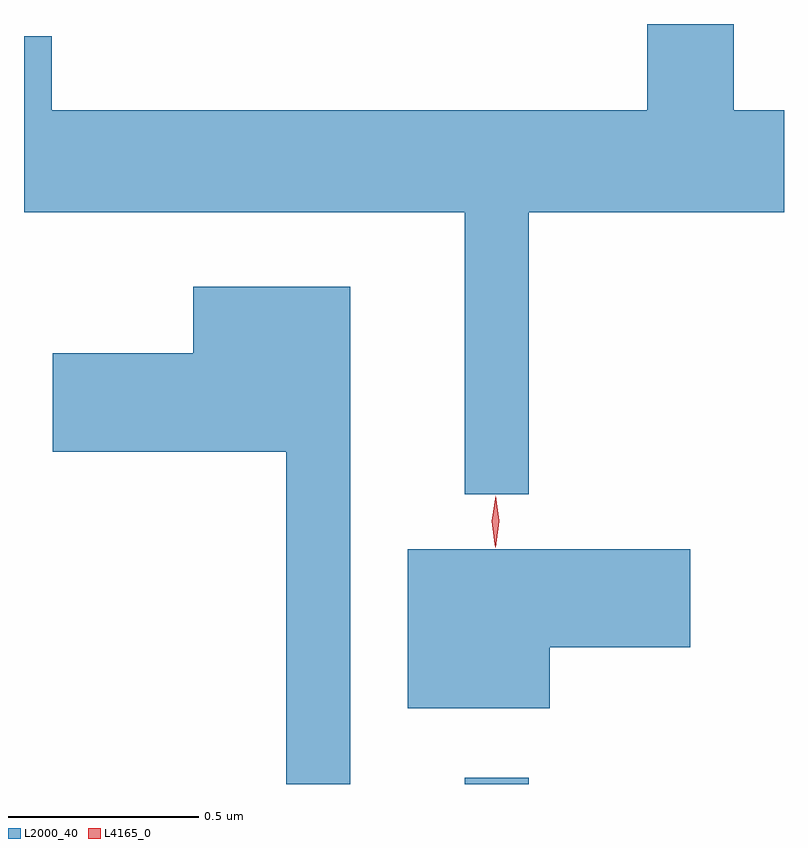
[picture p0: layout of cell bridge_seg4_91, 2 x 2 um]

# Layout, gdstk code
import gdstk
lib = gdstk.Library(unit=1e-6, precision=1e-09)
def R(c, l, rs):  # rectangles x0, y0, x1, y1
    for r in rs: c.add(gdstk.rectangle(r[:2], r[2:], *l))
def P(c, l, *ps):  # polygons
    for p in ps: c.add(gdstk.Polygon(p, *l))
L2000_40 = (2000, 40)
L4165_0 = (4165, 0)

bridge_seg4_91 = lib.new_cell('bridge_seg4_91')
R(bridge_seg4_91, L2000_40, [(963.781,1384.251,963.949,1384.268)])
P(bridge_seg4_91, L2000_40, [(963.949,1385.756),(964.621,1385.756),(964.621,1386.024),(964.489,1386.024),(964.489,1386.251),(964.261,1386.251),(964.261,1386.024),(962.694,1386.024),(962.694,1386.219),(962.621,1386.219),(962.621,1385.756),(963.781,1385.756),(963.781,1385.013),(963.949,1385.013)],
  [(963.479,1385.559),(963.066,1385.559),(963.066,1385.384),(962.696,1385.384),(962.696,1385.126),(963.311,1385.126),(963.311,1384.251),(963.479,1384.251)],
  [(964.004,1384.611),(964.374,1384.611),(964.374,1384.869),(963.631,1384.869),(963.631,1384.451),(964.004,1384.451)])
P(bridge_seg4_91, L4165_0, [(963.861,1384.874),(963.861,1384.874),(963.852,1384.942),(963.862,1385.01),(963.863,1385.01),(963.863,1385.01),(963.872,1384.942),(963.862,1384.874)],
  [(963.861,1384.88),(963.86,1384.881),(963.852,1384.944),(963.862,1385.006),(963.863,1385.007),(963.863,1385.006),(963.872,1384.944),(963.861,1384.881)])

lib.write_gds('bridge_seg4_91.gds')
